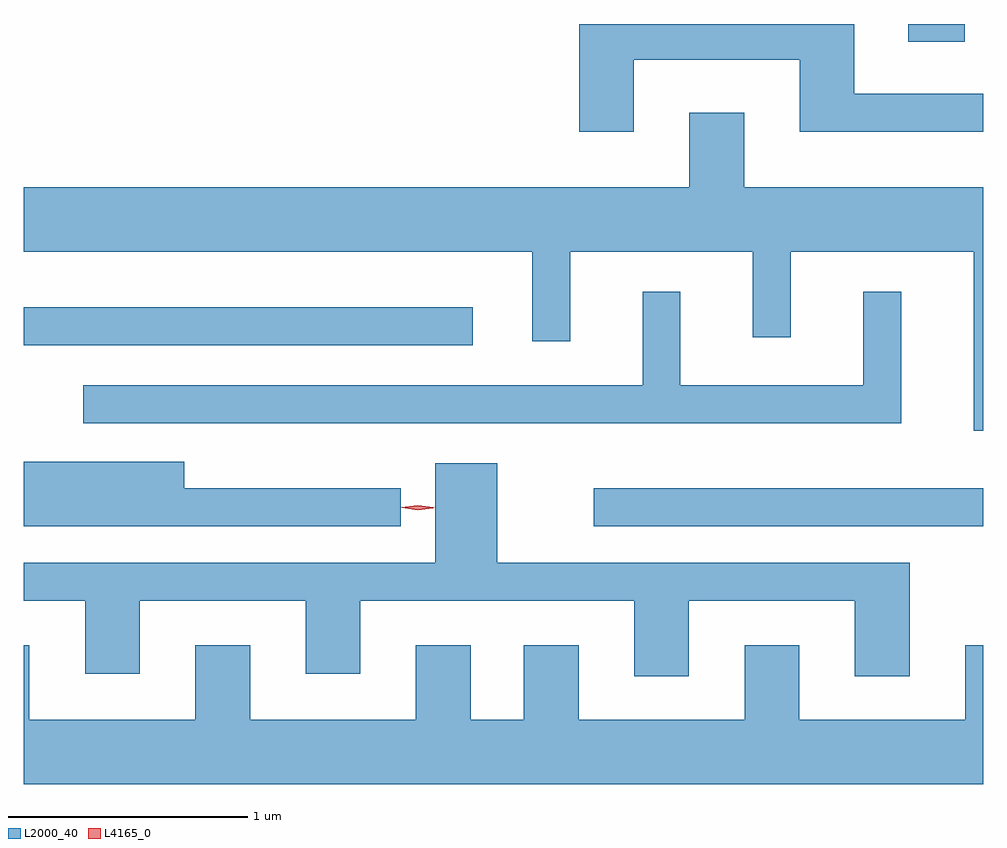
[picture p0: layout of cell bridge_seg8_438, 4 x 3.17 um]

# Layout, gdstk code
import gdstk
lib = gdstk.Library(unit=1e-6, precision=1e-09)
def R(c, l, rs):  # rectangles x0, y0, x1, y1
    for r in rs: c.add(gdstk.rectangle(r[:2], r[2:], *l))
def P(c, l, *ps):  # polygons
    for p in ps: c.add(gdstk.Polygon(p, *l))
L2000_40 = (2000, 40)
L4165_0 = (4165, 0)

bridge_seg8_438 = lib.new_cell('bridge_seg8_438')
R(bridge_seg8_438, L2000_40, [(999.043,1846.371,1000.666,1846.529), (996.666,1847.126,998.538,1847.284), (1000.353,1848.391,1000.589,1848.465)])
P(bridge_seg8_438, L2000_40, [(999.209,1848.316),(999.901,1848.316),(999.901,1848.016),(1000.666,1848.016),(1000.666,1848.174),(1000.129,1848.174),(1000.129,1848.465),(998.981,1848.465),(998.981,1848.016),(999.209,1848.016)],
  [(1000.666,1847.784),(999.669,1847.784),(999.669,1848.094),(999.441,1848.094),(999.441,1847.784),(996.666,1847.784),(996.666,1847.516),(998.786,1847.516),(998.786,1847.143),(998.944,1847.143),(998.944,1847.516),(999.706,1847.516),(999.706,1847.158),(999.864,1847.158),(999.864,1847.516),(1000.626,1847.516),(1000.626,1846.768),(1000.666,1846.768)],
  [(1000.324,1847.348),(1000.166,1847.348),(1000.166,1846.959),(999.404,1846.959),(999.404,1847.348),(999.246,1847.348),(999.246,1846.959),(996.913,1846.959),(996.913,1846.801),(1000.324,1846.801)],
  [(998.238,1846.529),(997.334,1846.529),(997.334,1846.639),(996.666,1846.639),(996.666,1846.371),(998.238,1846.371)],
  [(999.439,1846.061),(1000.131,1846.061),(1000.131,1845.746),(1000.359,1845.746),(1000.359,1846.219),(998.639,1846.219),(998.639,1846.634),(998.381,1846.634),(998.381,1846.219),(996.666,1846.219),(996.666,1846.061),(996.921,1846.061),(996.921,1845.756),(997.149,1845.756),(997.149,1846.061),(997.841,1846.061),(997.841,1845.756),(998.069,1845.756),(998.069,1846.061),(999.211,1846.061),(999.211,1845.746),(999.439,1845.746)],
  [(1000.666,1845.874),(1000.591,1845.874),(1000.591,1845.564),(999.899,1845.564),(999.899,1845.874),(999.671,1845.874),(999.671,1845.564),(998.979,1845.564),(998.979,1845.874),(998.751,1845.874),(998.751,1845.564),(998.529,1845.564),(998.529,1845.874),(998.301,1845.874),(998.301,1845.564),(997.609,1845.564),(997.609,1845.874),(997.381,1845.874),(997.381,1845.564),(996.689,1845.564),(996.689,1845.874),(996.666,1845.874),(996.666,1845.296),(1000.666,1845.296)])
P(bridge_seg8_438, L4165_0, [(998.308,1846.44),(998.239,1846.449),(998.239,1846.45),(998.239,1846.45),(998.308,1846.459),(998.376,1846.45),(998.377,1846.449),(998.376,1846.449)],
  [(998.308,1846.437),(998.243,1846.447),(998.242,1846.447),(998.243,1846.448),(998.308,1846.457),(998.374,1846.447),(998.374,1846.447),(998.374,1846.446)])

lib.write_gds('bridge_seg8_438.gds')
